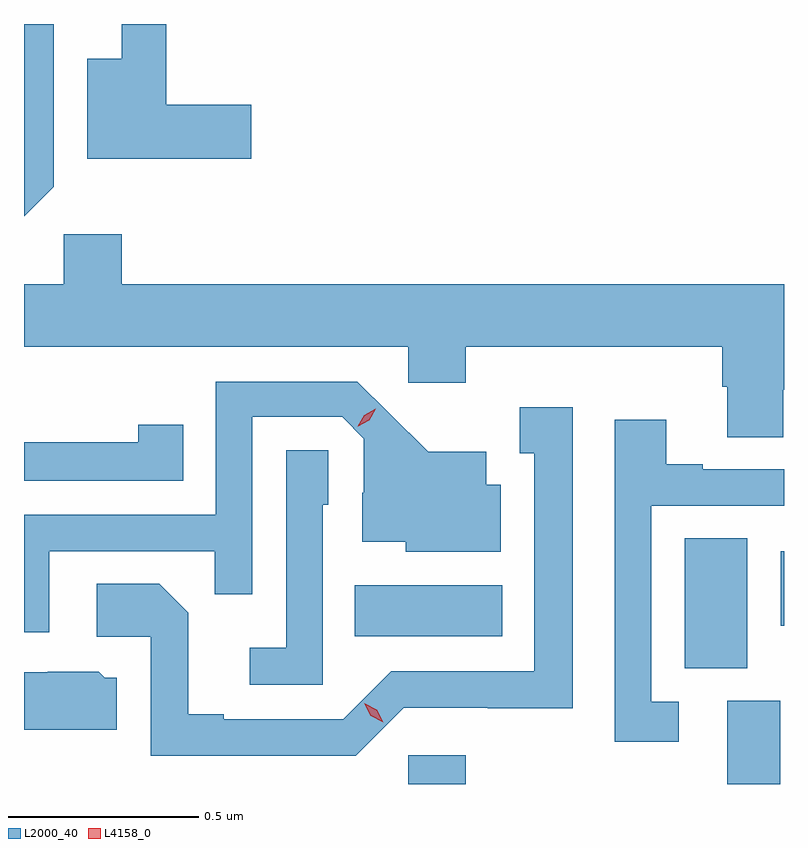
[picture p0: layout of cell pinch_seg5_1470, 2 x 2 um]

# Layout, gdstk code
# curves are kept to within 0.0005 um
import gdstk
lib = gdstk.Library(unit=1e-6, precision=1e-09)
def R(c, l, rs):  # rectangles x0, y0, x1, y1
    for r in rs: c.add(gdstk.rectangle(r[:2], r[2:], *l))
def P(c, l, *ps):  # polygons
    for p in ps: c.add(gdstk.Polygon(p, *l))
L2000_40 = (2000, 40)
L4158_0 = (4158, 0)

pinch_seg5_1470 = lib.new_cell('pinch_seg5_1470')
R(pinch_seg5_1470, L2000_40, [(132.402,912.885,132.554,912.961), (133.241,912.885,133.381,913.104), (133.13,913.189,133.294,913.532), (132.262,913.274,132.649,913.408), (133.382,913.301,133.391,913.498)])
P(pinch_seg5_1470, L2000_40, [(131.469,914.457),(131.469,914.885),(131.391,914.885),(131.391,914.379)],
  [(131.989,914.672),(131.765,914.672),(131.765,914.885),(131.648,914.885),(131.648,914.794),(131.558,914.794),(131.558,914.53),(131.989,914.53)],
  [(133.389,913.923),(133.391,913.923),(133.391,914.2),(131.648,914.2),(131.648,914.332),(131.496,914.332),(131.496,914.2),(131.391,914.2),(131.391,914.036),(132.402,914.036),(132.402,913.941),(132.554,913.941),(132.554,914.036),(133.229,914.036),(133.229,913.93),(133.241,913.93),(133.241,913.798),(133.389,913.798)],
  [(131.457,913.497),(131.893,913.497),(131.893,913.384),(131.991,913.384),(131.991,913.851),(132.228,913.851),(132.285,913.794),(132.285,913.652),(132.281,913.652),(132.281,913.523),(132.396,913.523),(132.396,913.496),(132.646,913.496),(132.646,913.672),(132.607,913.672),(132.607,913.759),(132.455,913.759),(132.268,913.944),(131.895,913.944),(131.895,913.593),(131.391,913.593),(131.391,913.284),(131.457,913.284)],
  [(132.39,913.086),(132.612,913.086),(132.612,913.085),(132.835,913.085),(132.835,913.876),(132.695,913.876),(132.695,913.755),(132.734,913.755),(132.734,913.182),(132.357,913.182),(132.231,913.056),(131.917,913.056),(131.917,913.069),(131.823,913.069),(131.823,913.336),(131.747,913.412),(131.583,913.412),(131.583,913.272),(131.724,913.272),(131.724,912.96),(132.264,912.96)],
  [(133.114,913.101),(133.041,913.101),(133.041,913.617),(133.391,913.617),(133.391,913.713),(133.177,913.713),(133.177,913.726),(133.081,913.726),(133.081,913.843),(132.945,913.843),(132.945,912.996),(133.114,912.996)],
  [(131.81,913.831),(131.692,913.831),(131.692,913.784),(131.391,913.784),(131.391,913.683),(131.81,913.683)],
  [(132.177,913.62),(132.192,913.62),(132.192,913.763),(132.081,913.763),(132.081,913.243),(131.985,913.243),(131.985,913.146),(132.177,913.146)],
  [(131.635,913.164),(131.604,913.164),(131.588,913.18),(131.454,913.18),(131.454,913.179),(131.391,913.179),(131.391,913.028),(131.635,913.028)])
P(pinch_seg5_1470, L4158_0, [(132.269,913.826),(132.269,913.827),(132.286,913.856),(132.316,913.872),(132.316,913.872),(132.316,913.872),(132.3,913.842),(132.27,913.826)],
  [(132.336,913.047),(132.304,913.065),(132.286,913.098),(132.286,913.098),(132.287,913.098),(132.319,913.08),(132.336,913.047),(132.336,913.047)])

lib.write_gds('pinch_seg5_1470.gds')
